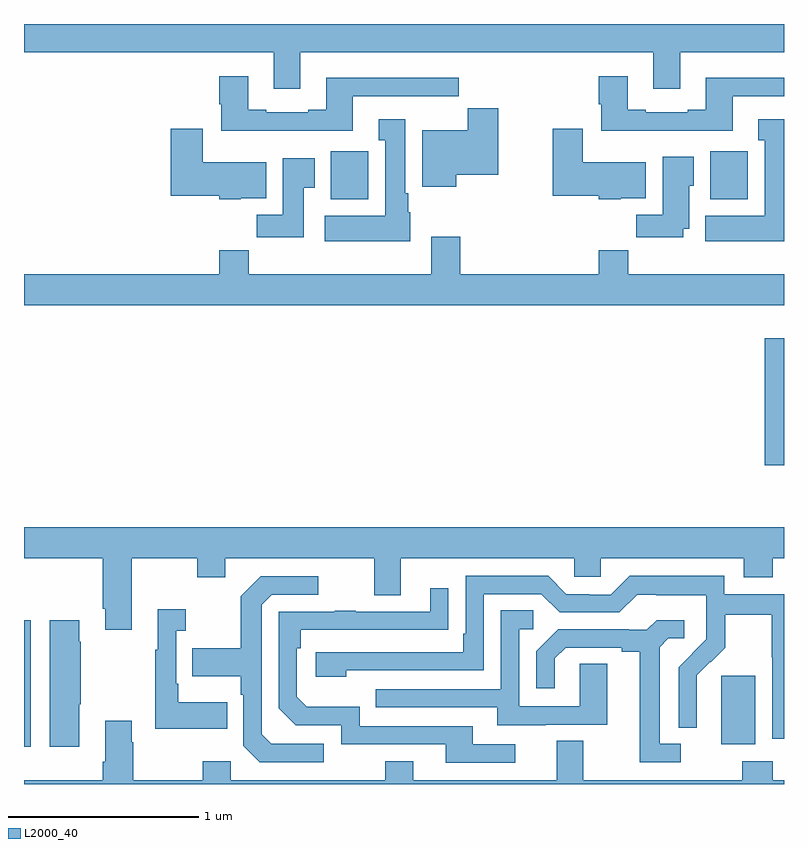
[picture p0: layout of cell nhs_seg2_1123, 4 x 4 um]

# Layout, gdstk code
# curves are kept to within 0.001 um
import gdstk
lib = gdstk.Library(unit=1e-6, precision=1e-09)
def R(c, l, rs):  # rectangles x0, y0, x1, y1
    for r in rs: c.add(gdstk.rectangle(r[:2], r[2:], *l))
def P(c, l, *ps):  # polygons
    for p in ps: c.add(gdstk.Polygon(p, *l))
L2000_40 = (2000, 40)

nhs_seg2_1123 = lib.new_cell('nhs_seg2_1123')
R(nhs_seg2_1123, L2000_40, [(169,627.996,169.036,628.663), (172.67,628.01,172.849,628.371), (172.898,629.478,173,630.145), (170.615,630.878,170.811,631.129), (172.613,630.878,172.809,631.129)])
P(nhs_seg2_1123, L2000_40, [(169,631.652),(170.315,631.652),(170.315,631.458),(170.455,631.458),(170.455,631.652),(172.313,631.652),(172.313,631.458),(172.453,631.458),(172.453,631.652),(173,631.652),(173,631.8),(169,631.8)],
  [(170.731,631.419),(171.179,631.419),(171.179,631.421),(171.288,631.421),(171.288,631.516),(170.591,631.516),(170.591,631.348),(170.495,631.348),(170.495,631.335),(170.275,631.335),(170.275,631.348),(170.179,631.348),(170.179,631.525),(170.027,631.525),(170.027,631.377),(170.039,631.377),(170.039,631.238),(170.731,631.238)],
  [(172.729,631.419),(173,631.419),(173,631.516),(172.589,631.516),(172.589,631.348),(172.493,631.348),(172.493,631.335),(172.273,631.335),(172.273,631.348),(172.177,631.348),(172.177,631.525),(172.025,631.525),(172.025,631.377),(172.037,631.377),(172.037,631.238),(172.729,631.238)],
  [(171.274,631.007),(171.496,631.007),(171.496,631.356),(171.335,631.356),(171.335,631.24),(171.095,631.24),(171.095,630.944),(171.274,630.944)],
  [(173,631.3),(172.865,631.3),(172.865,631.187),(172.898,631.187),(172.898,630.79),(172.586,630.79),(172.586,630.656),(173,630.656)],
  [(171.034,630.81),(171.022,630.81),(171.022,630.91),(171.007,630.91),(171.007,631.3),(170.867,631.3),(170.867,631.187),(170.9,631.187),(170.9,630.79),(170.583,630.79),(170.583,630.656),(171.034,630.656)],
  [(170.142,630.884),(170.275,630.884),(170.275,631.072),(169.942,631.072),(169.942,631.249),(169.772,631.249),(169.772,630.896),(170.028,630.896),(170.028,630.878),(170.142,630.878)],
  [(172.14,630.884),(172.273,630.884),(172.273,631.072),(171.94,631.072),(171.94,631.249),(171.782,631.249),(171.782,630.896),(172.026,630.896),(172.026,630.878),(172.14,630.878)],
  [(172.471,630.722),(172.501,630.722),(172.501,630.948),(172.525,630.948),(172.525,631.102),(172.361,631.102),(172.361,630.796),(172.222,630.796),(172.222,630.678),(172.471,630.678)],
  [(170.473,630.937),(170.53,630.937),(170.53,631.093),(170.363,631.093),(170.363,630.796),(170.224,630.796),(170.224,630.678),(170.473,630.678)],
  [(173,630.484),(172.181,630.484),(172.181,630.608),(172.025,630.608),(172.025,630.484),(171.296,630.484),(171.296,630.679),(171.143,630.679),(171.143,630.484),(170.183,630.484),(170.183,630.608),(170.027,630.608),(170.027,630.484),(169,630.484),(169,630.32),(173,630.32)],
  [(169.567,628.988),(169.912,628.988),(169.912,628.889),(170.059,628.889),(170.059,628.988),(170.843,628.988),(170.843,628.794),(170.983,628.794),(170.983,628.988),(171.897,628.988),(171.897,628.89),(172.035,628.89),(172.035,628.988),(172.787,628.988),(172.787,628.889),(172.94,628.889),(172.94,628.988),(173,628.988),(173,629.152),(169,629.152),(169,628.988),(169.415,628.988),(169.415,628.723),(169.427,628.723),(169.427,628.611),(169.567,628.611)],
  [(173,628.8),(172.686,628.8),(172.686,628.897),(172.189,628.897),(172.089,628.797),(171.974,628.797),(171.974,628.8),(171.855,628.8),(171.759,628.896),(171.324,628.896),(171.324,628.591),(171.311,628.591),(171.311,628.494),(170.535,628.494),(170.535,628.364),(170.696,628.364),(170.696,628.398),(171.42,628.398),(171.42,628.8),(171.723,628.8),(171.819,628.704),(172.134,628.704),(172.227,628.797),(172.327,628.797),(172.327,628.793),(172.59,628.793),(172.59,628.659),(172.592,628.659),(172.592,628.562),(172.446,628.414),(172.446,628.096),(172.542,628.096),(172.541,628.373),(172.611,628.443),(172.614,628.44),(172.691,628.517),(172.691,628.692),(172.936,628.692),(172.936,628.468),(172.938,628.468),(172.938,628.039),(173,628.039)],
  [(170.578,628.011),(170.301,628.011),(170.25,628.062),(170.25,628.743),(170.304,628.797),(170.548,628.797),(170.548,628.893),(170.247,628.893),(170.142,628.787),(170.142,628.515),(169.885,628.515),(169.885,628.367),(170.142,628.367),(170.142,628.271),(170.154,628.271),(170.154,628.002),(170.241,627.915),(170.578,627.915)],
  [(171.586,628.008),(171.361,628.008),(171.361,628.104),(170.766,628.104),(170.766,628.207),(170.489,628.207),(170.436,628.26),(170.436,628.514),(170.456,628.514),(170.456,628.611),(171.233,628.612),(171.233,628.831),(171.137,628.831),(171.137,628.707),(170.747,628.707),(170.747,628.712),(170.635,628.712),(170.635,628.707),(170.34,628.707),(170.34,628.2),(170.43,628.11),(170.67,628.11),(170.67,628.008),(171.221,628.008),(171.221,627.912),(171.586,627.912)],
  [(170.069,628.231),(169.813,628.231),(169.813,628.327),(169.8,628.327),(169.8,628.607),(169.852,628.607),(169.852,628.72),(169.703,628.72),(169.703,628.507),(169.692,628.507),(169.692,628.091),(170.069,628.091)],
  [(171.745,628.113),(172.069,628.113),(172.069,628.433),(171.924,628.433),(171.924,628.209),(171.606,628.209),(171.606,628.614),(171.679,628.614),(171.679,628.715),(171.51,628.715),(171.51,628.299),(170.851,628.299),(170.851,628.203),(171.491,628.203),(171.491,628.109),(171.745,628.109)],
  [(172.456,628.011),(172.345,628.011),(172.345,628.519),(172.392,628.566),(172.474,628.566),(172.474,628.663),(172.33,628.663),(172.278,628.611),(172.184,628.611),(172.184,628.614),(171.812,628.614),(171.696,628.498),(171.696,628.305),(171.793,628.305),(171.793,628.461),(171.85,628.518),(172.145,628.518),(172.145,628.496),(172.241,628.496),(172.241,627.915),(172.456,627.915)],
  [(169.291,628.219),(169.299,628.219),(169.299,628.55),(169.291,628.55),(169.291,628.663),(169.136,628.663),(169.136,627.996),(169.291,627.996)],
  [(173,627.82),(172.94,627.82),(172.94,627.919),(172.78,627.919),(172.78,627.82),(171.943,627.82),(171.943,628.028),(171.803,628.028),(171.803,627.82),(171.049,627.82),(171.049,627.919),(170.902,627.919),(170.902,627.82),(170.088,627.82),(170.088,627.919),(169.942,627.919),(169.942,627.82),(169.575,627.82),(169.575,628.019),(169.567,628.019),(169.567,628.132),(169.427,628.132),(169.427,627.916),(169.415,627.916),(169.415,627.82),(169,627.82),(169,627.8),(173,627.8)])

lib.write_gds('nhs_seg2_1123.gds')
